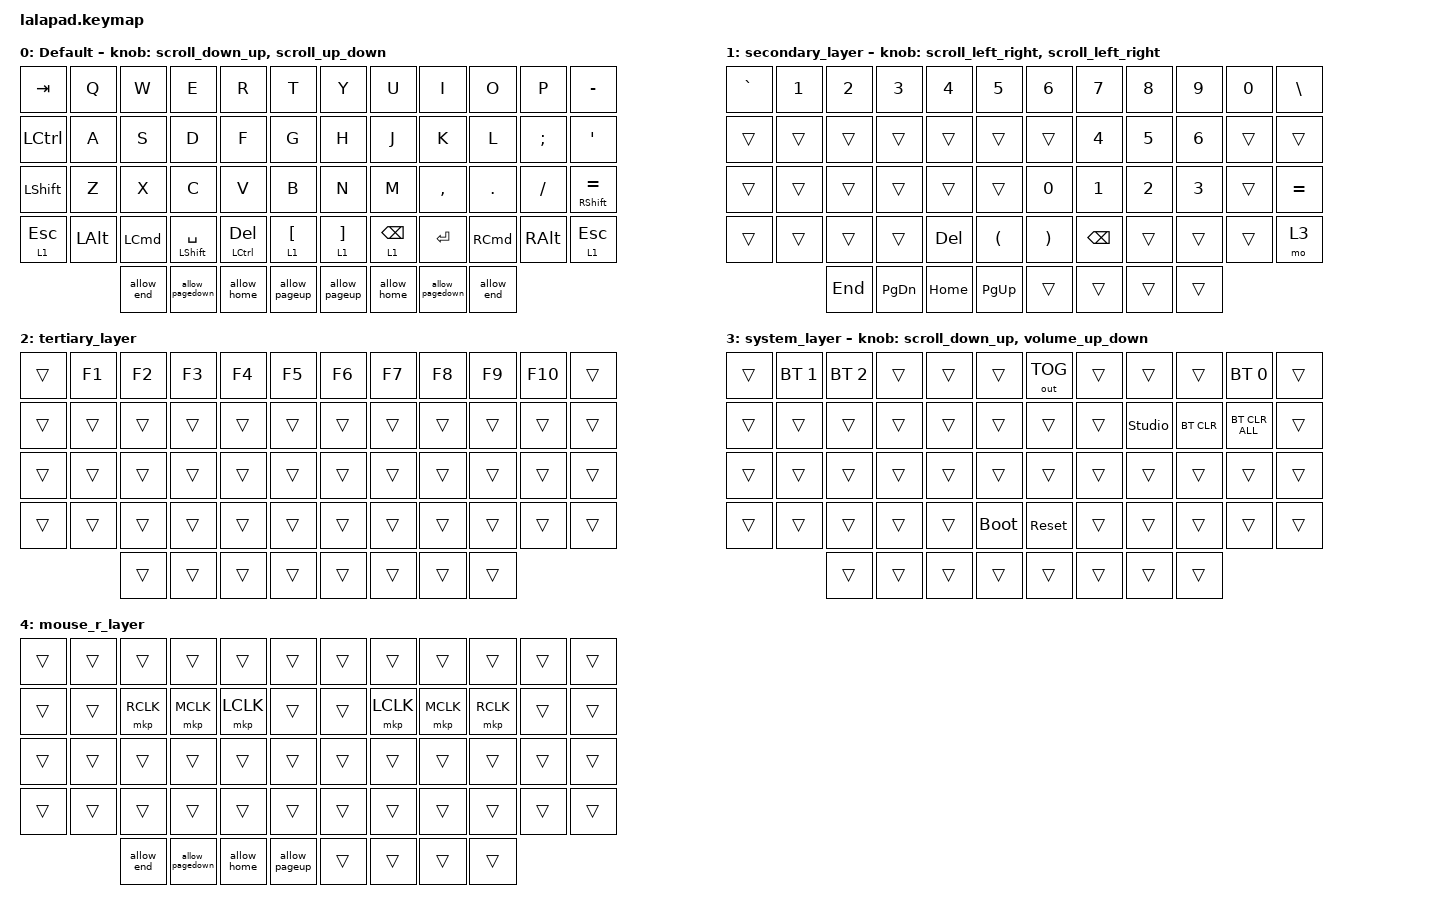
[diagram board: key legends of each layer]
#include <input/processors.dtsi>
#include <behaviors.dtsi>
#include <dt-bindings/zmk/bt.h>
#include <dt-bindings/zmk/keys.h>
#include <dt-bindings/zmk/outputs.h>
#include <dt-bindings/zmk/pointing.h>

#define DEFAULT_LAYER   0
#define SECONDARY_LAYER 1
#define TERTIARY_LAYER  2
#define SYSTEM_LAYER    3
#define MOUSE_R_LAYER   4
#define SCROLL_R_LAYER  5
#define MOUSE_L_LAYER   6
#define SCROLL_L_LAYER  7

// Mouse Scroll Value

#define ZMK_POINTING_DEFAULT_SCRL_VAL 100

// cirque trackpad input&layer control

&glidepoint_listener_R {
    input-processors =
        <&zip_xy_transform (INPUT_TRANSFORM_XY_SWAP | INPUT_TRANSFORM_X_INVERT | INPUT_TRANSFORM_Y_INVERT)>,
        <&zip_xy_scaler 3 2>,
        <&zip_temp_layer MOUSE_R_LAYER 500>;

    lowspeedmode {
        layers = <SECONDARY_LAYER>;
        input-processors =
            <&zip_xy_transform (INPUT_TRANSFORM_XY_SWAP | INPUT_TRANSFORM_X_INVERT | INPUT_TRANSFORM_Y_INVERT)>,
            <&zip_xy_scaler 3 5>,
            <&zip_temp_layer MOUSE_R_LAYER 500>;
    };

    scroller {
        layers = <SCROLL_R_LAYER>;
        input-processors =
            <&zip_xy_to_scroll_mapper>,
            <&zip_scroll_transform (INPUT_TRANSFORM_XY_SWAP | INPUT_TRANSFORM_Y_INVERT)>,
            <&zip_scroll_scaler 1 8>;
    };
};

&glidepoint_listener_L {
    input-processors =
        <&zip_xy_transform (INPUT_TRANSFORM_XY_SWAP | INPUT_TRANSFORM_X_INVERT | INPUT_TRANSFORM_Y_INVERT)>,
        <&zip_xy_scaler 3 2>,
        <&zip_temp_layer MOUSE_L_LAYER 500>;

    lowspeedmode {
        layers = <SECONDARY_LAYER>;
        input-processors =
            <&zip_xy_transform (INPUT_TRANSFORM_XY_SWAP | INPUT_TRANSFORM_X_INVERT | INPUT_TRANSFORM_Y_INVERT)>,
            <&zip_xy_scaler 3 4>,
            <&zip_temp_layer MOUSE_L_LAYER 500>;
    };

    scroller {
        layers = <SCROLL_L_LAYER>;
        input-processors =
            <&zip_xy_to_scroll_mapper>,
            <&zip_scroll_transform (INPUT_TRANSFORM_XY_SWAP | INPUT_TRANSFORM_Y_INVERT)>,
            <&zip_scroll_scaler 1 6>;
    };
};

/ {
    behaviors {
        // Encoder to Mouse Scroll

        scroll_up_down: sensor_scroll_up_down {
            compatible = "zmk,behavior-sensor-rotate";
            #sensor-binding-cells = <0>;
            bindings = <&msc SCRL_UP>, <&msc SCRL_DOWN>;

            tap-ms = <20>;
            label = "SCROLL_UP_DOWN";
        };

        scroll_down_up: sensor_scroll_down_up {
            compatible = "zmk,behavior-sensor-rotate";
            #sensor-binding-cells = <0>;
            bindings = <&msc SCRL_DOWN>, <&msc SCRL_UP>;

            tap-ms = <20>;
            label = "SCROLL_DOWN_UP";
        };

        scroll_left_right: sensor_scroll_left_right {
            compatible = "zmk,behavior-sensor-rotate";
            #sensor-binding-cells = <0>;
            bindings = <&msc SCRL_LEFT>, <&msc SCRL_RIGHT>;

            tap-ms = <20>;
            label = "SCROLL_LEFT_RIGHT";
        };

        scroll_right_left: sensor_scroll_right_left {
            compatible = "zmk,behavior-sensor-rotate";
            #sensor-binding-cells = <0>;
            bindings = <&msc SCRL_RIGHT>, <&msc SCRL_LEFT>;

            tap-ms = <20>;
            label = "SCROLL_RIGHT_LEFT";
        };

        volume_up_down: sensor_volume_up_down {
            compatible = "zmk,behavior-sensor-rotate";
            #sensor-binding-cells = <0>;
            bindings = <&kp C_VOLUME_UP>, <&kp C_VOLUME_DOWN>;

            tap-ms = <20>;
            label = "VOLUME_UP_DOWN";
        };

        dot_comma: dot_comma {
            compatible = "zmk,behavior-mod-morph";
            #binding-cells = <0>;
            bindings = <&kp KP_DOT>, <&kp COMMA>;

            mods = <(MOD_LSFT|MOD_RSFT)>;
            label = "DOT_COMMA";
        };

        pls_minus: pls_minus {
            compatible = "zmk,behavior-mod-morph";
            #binding-cells = <0>;
            bindings = <&kp PLUS>, <&kp MINUS>;

            mods = <(MOD_LSFT|MOD_RSFT)>;
            label = "PLS_MINUS";
        };

        allow_pageup: allow_pageup {
            compatible = "zmk,behavior-mod-morph";
            #binding-cells = <0>;
            bindings = <&kp UP>, <&kp PAGE_UP>;

            mods = <(MOD_LCTL|MOD_RCTL)>;
            label = "ALLOW_PAGEUP";
        };

        allow_pagedown: allow_pagedown {
            compatible = "zmk,behavior-mod-morph";
            #binding-cells = <0>;
            bindings = <&kp DOWN>, <&kp PAGE_DOWN>;

            mods = <(MOD_LCTL|MOD_RCTL)>;
            label = "ALLOW_PAGEDOWN";
        };

        allow_home: allow_home {
            compatible = "zmk,behavior-mod-morph";
            #binding-cells = <0>;
            bindings = <&kp LEFT>, <&kp HOME>;

            mods = <(MOD_LCTL|MOD_RCTL)>;
            label = "ALLOW_HOME";
        };

        allow_end: allow_end {
            compatible = "zmk,behavior-mod-morph";
            #binding-cells = <0>;
            bindings = <&kp RIGHT>, <&kp END>;

            mods = <(MOD_LCTL|MOD_RCTL)>;
            label = "ALLOW_END";
        };

        mt2: mod_tap2 {
            compatible = "zmk,behavior-hold-tap";
            #binding-cells = <2>;
            flavor = "tap-preferred";
            tapping-term-ms = <200>;
            quick-tap-ms = <200>;
            require-prior-idle-ms = <125>;
            bindings = <&kp>, <&kp>;
        };
    };

    keymap {
        compatible = "zmk,keymap";

        DEFAULT_LAYER {
            display-name = "Default";
            sensor-bindings = <&scroll_down_up>, <&scroll_up_down>;

            bindings = <
&kp TAB       &kp Q         &kp W       &kp E                 &kp R             &kp T               &kp Y                &kp U            &kp I            &kp O       &kp P          &kp MINUS
&kp LCTRL     &kp A         &kp S       &kp D                 &kp F             &kp G               &kp H                &kp J            &kp K            &kp L       &kp SEMI       &kp SQT
&kp LSHFT     &kp Z         &kp X       &kp C                 &kp V             &kp B               &kp N                &kp M            &kp COMMA        &kp PERIOD  &kp SLASH      &mt RSHIFT EQUAL
&lt 1 ESCAPE  &kp LEFT_ALT  &kp LCMD    &mt LEFT_SHIFT SPACE  &mt LCTRL DELETE  &lt 1 LEFT_BRACKET  &lt 1 RIGHT_BRACKET  &lt 1 BACKSPACE  &kp RETURN       &kp RCMD    &kp RIGHT_ALT  &lt 1 ESCAPE
                            &allow_end  &allow_pagedown       &allow_home       &allow_pageup       &allow_pageup        &allow_home      &allow_pagedown  &allow_end
            >;
        };

        SECONDARY_LAYER {
            display-name = "secondary_layer";
            sensor-bindings = <&scroll_left_right>, <&scroll_left_right>;

            bindings = <
&kp GRAVE  &kp NUMBER_1  &kp NUMBER_2  &kp NUMBER_3   &kp NUMBER_4  &kp NUMBER_5          &kp NUMBER_6           &kp N7         &kp N8        &kp N9        &kp N0  &kp BACKSLASH
&trans     &trans        &trans        &trans         &trans        &trans                &trans                 &kp NUMBER_4   &kp NUMBER_5  &kp NUMBER_6  &trans  &trans
&trans     &trans        &trans        &trans         &trans        &trans                &kp NUMBER_0           &kp NUMBER_1   &kp NUMBER_2  &kp NUMBER_3  &trans  &kp EQUAL
&trans     &trans        &trans        &trans         &kp DELETE    &kp LEFT_PARENTHESIS  &kp RIGHT_PARENTHESIS  &kp BACKSPACE  &trans        &trans        &trans  &mo 3
                         &kp END       &kp PAGE_DOWN  &kp HOME      &kp PAGE_UP           &trans                 &trans         &trans        &trans
            >;
        };

        TERTIARY_LAYER {
            display-name = "tertiary_layer";
            bindings = <
&trans  &kp F1  &kp F2  &kp F3  &kp F4  &kp F5  &kp F6  &kp F7  &kp F8  &kp F9  &kp F10  &trans
&trans  &trans  &trans  &trans  &trans  &trans  &trans  &trans  &trans  &trans  &trans   &trans
&trans  &trans  &trans  &trans  &trans  &trans  &trans  &trans  &trans  &trans  &trans   &trans
&trans  &trans  &trans  &trans  &trans  &trans  &trans  &trans  &trans  &trans  &trans   &trans
                &trans  &trans  &trans  &trans  &trans  &trans  &trans  &trans
            >;
        };

        SYSTEM_LAYER {
            display-name = "system_layer";
            sensor-bindings = <&scroll_down_up>, <&volume_up_down>;

            bindings = <
&trans  &bt BT_SEL 1  &bt BT_SEL 2  &trans  &trans  &trans       &out OUT_TOG  &trans  &trans          &trans      &bt BT_SEL 0    &trans
&trans  &trans        &trans        &trans  &trans  &trans       &trans        &trans  &studio_unlock  &bt BT_CLR  &bt BT_CLR_ALL  &trans
&trans  &trans        &trans        &trans  &trans  &trans       &trans        &trans  &trans          &trans      &trans          &trans
&trans  &trans        &trans        &trans  &trans  &bootloader  &sys_reset    &trans  &trans          &trans      &trans          &trans
                      &trans        &trans  &trans  &trans       &trans        &trans  &trans          &trans
            >;
        };

        MOUSE_R_LAYER {
            display-name = "mouse_r_layer";
            bindings = <
&trans  &trans  &trans      &trans           &trans       &trans         &trans  &trans     &trans     &trans     &trans  &trans
&trans  &trans  &mkp RCLK   &mkp MCLK        &mkp LCLK    &trans         &trans  &mkp LCLK  &mkp MCLK  &mkp RCLK  &trans  &trans
&trans  &trans  &trans      &trans           &trans       &trans         &trans  &trans     &trans     &trans     &trans  &trans
&trans  &trans  &trans      &trans           &trans       &trans         &trans  &trans     &trans     &trans     &trans  &trans
                &allow_end  &allow_pagedown  &allow_home  &allow_pageup  &trans  &trans     &trans     &trans
            >;
        };
    };
};
